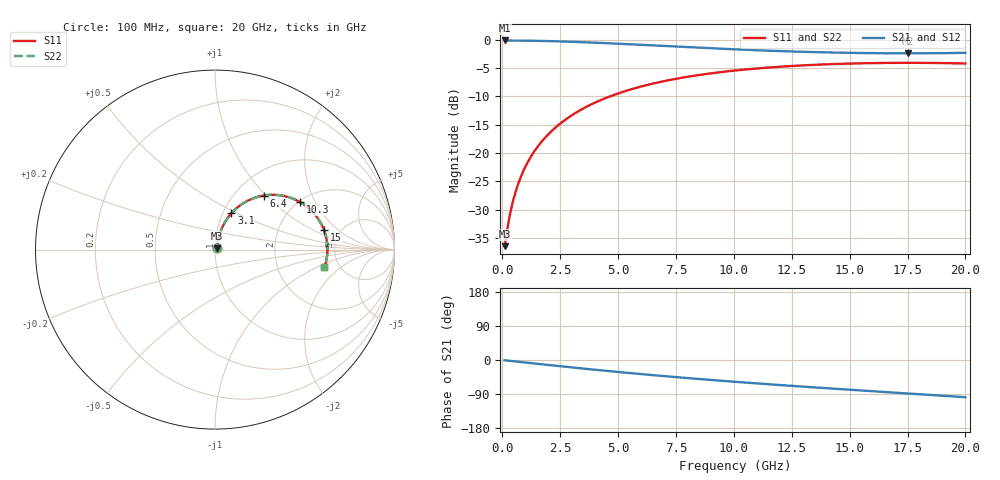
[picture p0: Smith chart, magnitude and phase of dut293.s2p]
! Touchstone file exported from HFSS 2026.1.0
!  File:  C:/ffzhzh/LocalFiles/Ansys_Project_Files/temp_train_TSV_RDL_293_1783087910_37648.aedt
!  Generated:  10:27:50 PM Jul  3, 2026
!  Design:  TSV_RDL
!  Project:  temp_train_TSV_RDL_293_1783087910_37648
! Variables:
!  h_bsmrdl = 3.28um
!  h_ox = 20um
!  h_rdl = 5um
!  h_sub = 61.3um
!  h_tmrdl = 4.61um
!  h_tsv = 61.3um
!  h_via = 3um
!  l_bsmrdl = 141.58um
!  l_sub = 1745.68um
!  l_tmrdl = 196.14um
!  m_sub = 200um
!  pitch = 57.67um
!  r_tsv = 2.52um
!  s_tmrdl = 10um
!  w_bsmrdl = 24.65um
!  w_sub = 500um
!  w_tmrdl = 20.81um
!  x_tsv_center1 = 206.545um
!  x_tsv_center2 = 372.775um
!  x_tsv_center3 = 589.725um
!  x_tsv_center4 = 755.955um
!  x_tsv_center5 = 972.905um
!  x_tsv_center6 = 1139.135um
# GHz S MA R 50.000000
! Terminal data exported
! Port[1] = TM_RDL1_1_T1
! Port[2] = TM_RDL5_1_T1
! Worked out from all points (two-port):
!   200 points, 100 MHz to 20 GHz, reference 50 ohm
!   highest |S21| = -0.11 dB at 100 MHz (marker M1); lowest = -2.4 dB at 17.5 GHz (marker M2)
!   |S21| within 3 dB of the highest: start of sweep to end of sweep
!   lowest |S11| = -36.4 dB at 100 MHz (marker M3), VSWR 1.03, Z = 51.3 + j0.786 ohm
!   |S11| at or under -10 dB: start of sweep to 4.642 GHz
!   |S22| runs from -36.4 to -4.1 dB; largest |S21 - S12| = 2.9e-15
!   S11 on the Smith chart (normalised r, x): 100 MHz: 1.03, +0.02; 3.1 GHz: 1.10, +0.47; 6.4 GHz: 1.35, +0.97; 10.3 GHz: 2.03, +1.52; 15 GHz: 3.74, +1.30; 20 GHz: 3.82, -1.21
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0.1  0.01509 30.5  0.9871 -0.7  0.9871 -0.7  0.01509 30.5
! Gamma 0 0 0 0
! Port Impedance 50 0 50 0
0.3  0.02661 57.8  0.9864 -2.0  0.9864 -2.0  0.02661 57.8
0.5  0.04027 66.8  0.9856 -3.4  0.9856 -3.4  0.04027 66.8
0.6  0.04733 69.0  0.9852 -4.0  0.9852 -4.0  0.04733 69.0
0.8  0.06163 71.6  0.9843 -5.3  0.9843 -5.3  0.06163 71.6
1.1  0.08328 72.9  0.9825 -7.3  0.9825 -7.3  0.08328 72.9
1.5  0.1121 72.7  0.9794 -9.9  0.9794 -9.9  0.1121 72.7
1.9  0.1405 71.4  0.9754 -12.5  0.9754 -12.5  0.1405 71.4
2.5  0.1822 68.8  0.968 -16.4  0.968 -16.4  0.1822 68.8
3.1  0.2222 65.7  0.9591 -20.2  0.9591 -20.2  0.2222 65.7
3.5  0.2479 63.6  0.9525 -22.7  0.9525 -22.7  0.2479 63.6
4.8  0.3251 56.4  0.928 -30.4  0.928 -30.4  0.3251 56.4
6.4  0.406 47.9  0.8949 -39.4  0.8949 -39.4  0.406 47.9
6.8  0.4238 45.9  0.8865 -41.5  0.8865 -41.5  0.4238 45.9
8.4  0.486 38.0  0.854 -49.7  0.854 -49.7  0.486 38.0
10.1  0.5372 30.2  0.8232 -57.8  0.8232 -57.8  0.5372 30.2
10.3  0.5423 29.3  0.8199 -58.7  0.8199 -58.7  0.5423 29.3
13.4  0.6006 16.3  0.7796 -72.0  0.7796 -72.0  0.6006 16.3
15  0.617 10.0  0.7672 -78.5  0.7672 -78.5  0.617 10.1
16.7  0.6256 3.5  0.7607 -85.2  0.7607 -85.2  0.6256 3.5
17.5  0.6267 0.5  0.7599 -88.3  0.7599 -88.3  0.6267 0.5
20  0.6174 -9.1  0.7672 -98.2  0.7672 -98.2  0.6174 -9.1
